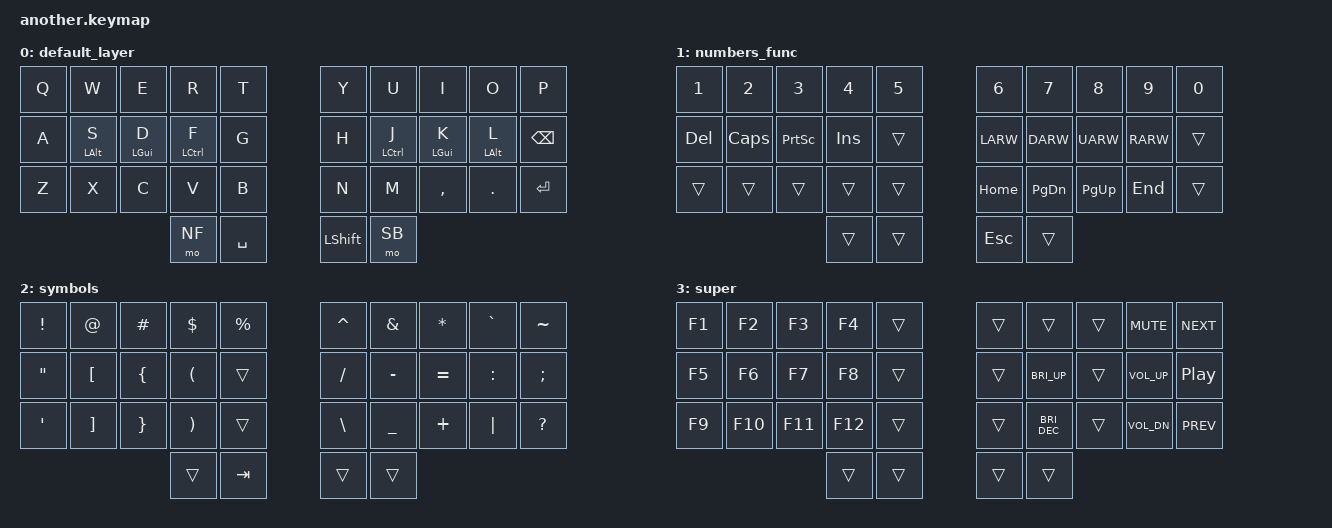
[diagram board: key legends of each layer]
#include <behaviors.dtsi>
#include <dt-bindings/zmk/keys.h>

#define DEFAULT 0
#define NF 1
#define SB 2
#define SUPER 3
/ {
   behaviors {
        ht: hold_tap {
            label = "hold_tap";
            compatible = "zmk,behavior-hold-tap";
            #binding-cells = <2>;
            flavor = "tap-preferred";
            tapping-term-ms = <220>;
            quick-tap-ms = <150>;
            global-quick-tap;
            bindings = <&kp>, <&kp>;
        };
   };

   conditional_layers {
      compatible = "zmk,conditional-layers";
      super {
         if-layers = <NF SB>;
         then-layer = <SUPER>;
      };
   };

   keymap {
        compatible = "zmk,keymap";

        default_layer {
            bindings = <
    &kp Q    &kp W         &kp E          &kp R             &kp T                   &kp Y         &kp U           &kp I             &kp O          &kp P
    &kp A    &ht LALT S    &ht LGUI D     &ht LCTRL F       &kp G                   &kp H         &ht LCTRL J     &ht LGUI K        &ht LALT L     &kp BSPC
    &kp Z    &kp X         &kp C          &kp V             &kp B                   &kp N         &kp M           &kp COMMA         &kp DOT        &kp ENTER
                                          &mo NF            &kp SPACE               &kp LSHIFT    &mo SB
            >;
        };

        numbers_func {
            bindings = <
    &kp N1     &kp N2      &kp N3         &kp N4            &kp N5                  &kp N6         &kp N7         &kp N8            &kp N9         &kp N0
    &kp DEL    &kp CAPS    &kp PSCRN      &kp INS           &trans                  &kp LARW       &kp DARW       &kp UARW          &kp RARW       &trans
    &trans     &trans      &trans         &trans            &trans                  &kp HOME       &kp PG_DN      &kp PG_UP         &kp END        &trans
                                          &trans            &trans                  &kp ESC        &trans
            >;
        };

        symbols {
            bindings = <
    &kp EXCL   &kp AT      &kp HASH       &kp DLLR          &kp PRCNT               &kp CARET      &kp AMPS       &kp ASTRK         &kp GRAVE      &kp TILDE 
    &kp DQT    &kp LBKT    &kp LBRC       &kp LPAR          &trans                  &kp FSLH       &kp MINUS      &kp EQUAL         &kp COLON      &kp SEMI
    &kp SQT    &kp RBKT    &kp RBRC       &kp RPAR          &trans                  &kp BSLH       &kp UNDER      &kp PLUS          &kp PIPE       &kp QMARK
                                          &trans            &kp TAB                 &trans         &trans
            >;
        };

        super {
            bindings = <
    &kp F1     &kp F2      &kp F3         &kp F4            &trans                  &trans         &trans         &trans            &kp C_MUTE     &kp C_NEXT
    &kp F5     &kp F6      &kp F7         &kp F8            &trans                  &trans         &kp C_BRI_UP   &trans            &kp C_VOL_UP   &kp C_PP
    &kp F9     &kp F10     &kp F11        &kp F12           &trans                  &trans         &kp C_BRI_DEC  &trans            &kp C_VOL_DN   &kp C_PREV
                                          &trans            &trans                  &trans         &trans
            >;
        };
    };
};
